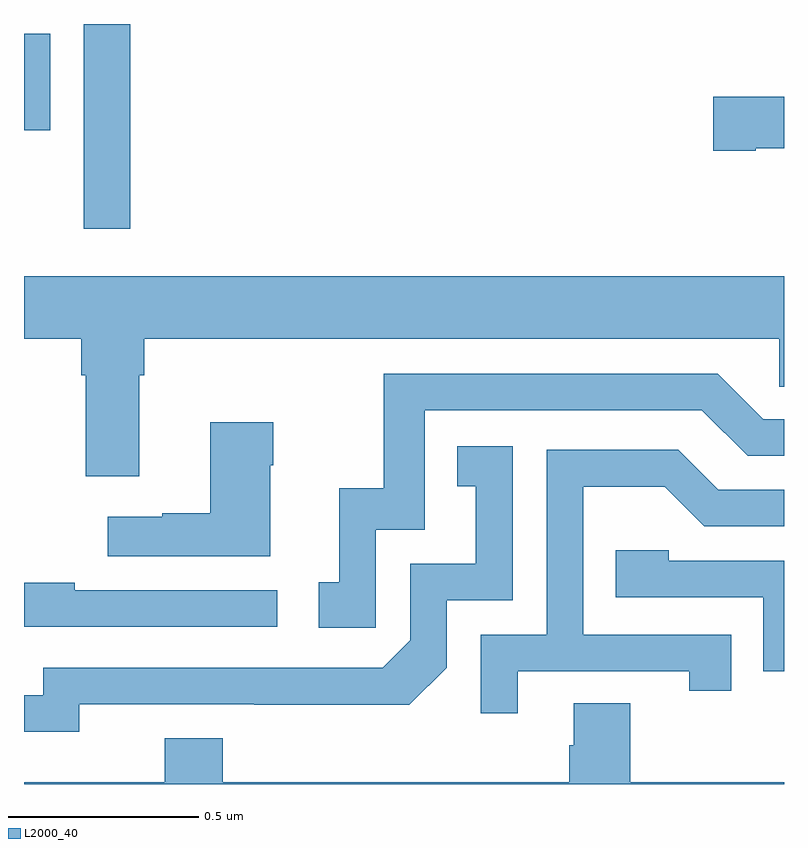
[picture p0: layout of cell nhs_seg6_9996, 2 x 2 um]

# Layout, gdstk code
import gdstk
lib = gdstk.Library(unit=1e-6, precision=1e-09)
def R(c, l, rs):  # rectangles x0, y0, x1, y1
    for r in rs: c.add(gdstk.rectangle(r[:2], r[2:], *l))
def P(c, l, *ps):  # polygons
    for p in ps: c.add(gdstk.Polygon(p, *l))
L2000_40 = (2000, 40)

nhs_seg6_9996 = lib.new_cell('nhs_seg6_9996')
R(nhs_seg6_9996, L2000_40, [(241.157,944.961,241.279,945.5), (241,945.221,241.069,945.475)])
P(nhs_seg6_9996, L2000_40, [(242.926,945.173),(243,945.173),(243,945.308),(242.814,945.308),(242.814,945.166),(242.926,945.166)],
  [(241.303,944.576),(241.316,944.576),(241.316,944.672),(242.988,944.672),(242.988,944.545),(243,944.545),(243,944.836),(241,944.836),(241,944.672),(241.151,944.672),(241.151,944.576),(241.163,944.576),(241.163,944.31),(241.303,944.31)],
  [(241.926,944.169),(242.055,944.169),(242.055,944.484),(242.784,944.484),(242.904,944.364),(243,944.364),(243,944.46),(242.946,944.46),(242.826,944.58),(241.947,944.58),(241.947,944.278),(241.829,944.278),(241.829,944.031),(241.776,944.031),(241.776,943.911),(241.926,943.911)],
  [(241.648,944.339),(241.656,944.339),(241.656,944.452),(241.49,944.452),(241.49,944.213),(241.364,944.213),(241.364,944.203),(241.221,944.203),(241.221,944.099),(241.648,944.099)],
  [(241.146,943.71),(241.606,943.71),(241.606,943.709),(242.014,943.709),(242.112,943.806),(242.112,943.983),(242.286,943.983),(242.286,944.389),(242.14,944.389),(242.14,944.283),(242.189,944.283),(242.189,944.079),(242.016,944.079),(242.016,943.878),(241.944,943.806),(241.05,943.806),(241.05,943.734),(241,943.734),(241,943.637),(241.146,943.637)],
  [(242.299,943.797),(242.75,943.797),(242.75,943.746),(242.861,943.746),(242.861,943.893),(242.472,943.893),(242.472,944.282),(242.686,944.282),(242.79,944.178),(243,944.178),(243,944.274),(242.827,944.274),(242.722,944.379),(242.376,944.379),(242.376,943.893),(242.202,943.893),(242.202,943.686),(242.299,943.686)],
  [(243,944.088),(242.697,944.088),(242.697,944.115),(242.557,944.115),(242.557,943.992),(242.946,943.992),(242.946,943.797),(243,943.797)],
  [(241.666,944.01),(241.133,944.01),(241.133,944.03),(241,944.03),(241,943.914),(241.666,943.914)],
  [(243,943.504),(242.595,943.504),(242.595,943.712),(242.447,943.712),(242.447,943.602),(242.435,943.602),(242.435,943.504),(241.523,943.504),(241.523,943.621),(241.37,943.621),(241.37,943.504),(241,943.504),(241,943.5),(243,943.5)])

lib.write_gds('nhs_seg6_9996.gds')
